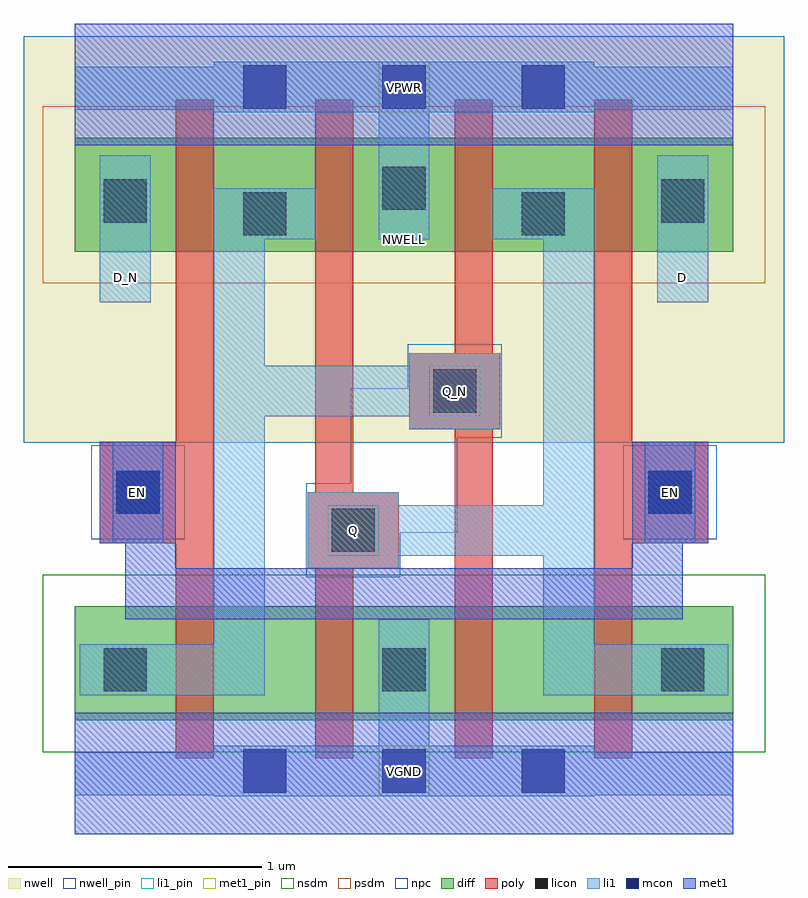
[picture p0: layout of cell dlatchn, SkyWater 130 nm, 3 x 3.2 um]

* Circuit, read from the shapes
.subckt dlatchn D D_N EN NWELL Q Q_N VGND VPWR
XM1 n1 EN Q_N VSUBS sky130_fd_pr__nfet_01v8 w=0.45 l=0.15
XM2 VGND Q n1 VSUBS sky130_fd_pr__nfet_01v8 w=0.45 l=0.15
XM3 n2 Q_N VGND VSUBS sky130_fd_pr__nfet_01v8 w=0.45 l=0.15
XM4 Q EN n2 VSUBS sky130_fd_pr__nfet_01v8 w=0.45 l=0.15
XM5 Q_N EN D_N NWELL sky130_fd_pr__pfet_01v8 w=0.45 l=0.15
XM6 VPWR Q Q_N NWELL sky130_fd_pr__pfet_01v8 w=0.45 l=0.15
XM7 Q Q_N VPWR NWELL sky130_fd_pr__pfet_01v8 w=0.45 l=0.15
XM8 D EN Q NWELL sky130_fd_pr__pfet_01v8 w=0.45 l=0.15
.ends

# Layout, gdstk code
import gdstk
lib = gdstk.Library(unit=1e-6, precision=1e-09)
def R(c, l, rs):  # rectangles x0, y0, x1, y1
    for r in rs: c.add(gdstk.rectangle(r[:2], r[2:], *l))
def A(c, l, x, y, w, h, nx, ny, dx, dy):  # array of equal rectangles
    R(c, l, [(x+i*dx, y+j*dy, x+i*dx+w, y+j*dy+h) for i in range(nx) for j in range(ny)])
nwell_pin = (64, 16)
nwell = (64, 20)
diff = (65, 20)
poly = (66, 20)
licon = (66, 44)
li1_pin = (67, 16)
li1 = (67, 20)
mcon = (67, 44)
met1_pin = (68, 16)
met1 = (68, 20)
nsdm = (93, 44)
psdm = (94, 20)
npc = (95, 20)

dlatchn = lib.new_cell('dlatchn')
R(dlatchn, nwell_pin, [(-1.5,1.545,1.5,3.15)])
R(dlatchn, nwell, [(-1.5,1.545,1.5,3.15)])
R(dlatchn, diff, [(-1.3,0.45,1.3,0.9), (-1.3,2.3,1.3,2.75)])
R(dlatchn, poly, [(-0.9,0.3,-0.75,1.15), (-0.35,0.3,-0.2,1.05), (0.2,0.3,0.35,1.6), (0.75,0.3,0.9,1.15), (-0.38,1.05,-0.02,1.35), (-1.2,1.15,-0.75,1.55), (0.75,1.15,1.2,1.55), (-0.35,1.35,-0.2,2.9), (-0.9,1.55,-0.75,2.9), (0.75,1.55,0.9,2.9), (0.02,1.6,0.38,1.9), (0.2,1.9,0.35,2.9)])
A(dlatchn, licon, -1.185, 0.565, 0.17, 0.17, 3, 1, 1.1, 0)
R(dlatchn, licon, [(-0.285,1.115,-0.115,1.285), (-1.135,1.265,-0.965,1.435), (0.965,1.265,1.135,1.435), (0.115,1.665,0.285,1.835), (-0.635,2.365,-0.465,2.535), (0.465,2.365,0.635,2.535), (-1.185,2.415,-1.015,2.585), (1.015,2.415,1.185,2.585), (-0.085,2.465,0.085,2.635)])
R(dlatchn, li1_pin, [(-0.3,1.1,-0.1,1.3), (0.1,1.65,0.3,1.85), (-1.2,2.1,-1,2.3), (1,2.1,1.2,2.3)])
R(dlatchn, li1, [(-0.75,0.15,0.75,0.155), (-1.3,0.155,1.3,0.325), (-0.75,0.325,0.75,0.35), (-0.1,0.35,0.1,0.85), (-1.28,0.55,-0.55,0.75), (0.55,0.55,1.28,0.75), (-0.75,0.75,-0.55,1.65), (0.55,0.75,0.75,1.1), (-0.38,1.05,-0.02,1.1), (-0.38,1.1,0.75,1.3), (-1.15,1.15,-0.95,1.55), (0.95,1.15,1.15,1.55), (-0.38,1.3,-0.02,1.35), (0.55,1.3,0.75,2.35), (0.02,1.6,0.38,1.65), (-0.75,1.65,0.38,1.85), (-0.75,1.85,-0.55,2.35), (0.02,1.85,0.38,1.9), (-1.2,2.1,-1,2.68), (1,2.1,1.2,2.68), (-0.75,2.35,-0.35,2.55), (-0.1,2.35,0.1,2.85), (0.35,2.35,0.75,2.55), (-0.75,2.85,0.75,2.86), (-1.3,2.86,1.3,3.03), (-0.75,3.03,0.75,3.05)])
A(dlatchn, mcon, -0.635, 0.165, 0.17, 0.17, 3, 2, 0.55, 2.7)
R(dlatchn, mcon, [(-1.135,1.265,-0.965,1.435), (0.965,1.265,1.135,1.435)])
R(dlatchn, met1_pin, [(-0.1,0.15,0.1,0.35), (-1.2,1.15,-0.9,1.55), (0.9,1.15,1.2,1.55), (-0.1,2.85,0.1,3.05)])
R(dlatchn, met1, [(-1.3,0,1.3,0.48), (-1.1,0.85,1.1,1.05), (-1.1,1.05,-0.9,1.15), (0.9,1.05,1.1,1.15), (-1.2,1.15,-0.9,1.55), (0.9,1.15,1.2,1.55), (-1.3,2.72,1.3,3.2)])
R(dlatchn, nsdm, [(-1.425,0.325,1.425,1.025)])
R(dlatchn, psdm, [(-1.425,2.175,1.425,2.875)])
R(dlatchn, npc, [(-0.385,1.015,-0.015,1.19), (-1.235,1.165,-0.865,1.535), (0.865,1.165,1.235,1.535), (-0.385,1.19,0.21,1.385), (-0.21,1.385,0.21,1.565), (-0.21,1.565,0.385,1.76), (0.015,1.76,0.385,1.935)])
dlatchn.add(gdstk.Label('NWELL', (0,2.347), layer=64, texttype=16))
dlatchn.add(gdstk.Label('VPWR', (0,2.95), layer=68, texttype=16))
dlatchn.add(gdstk.Label('VGND', (0,0.25), layer=68, texttype=16))
dlatchn.add(gdstk.Label('Q_N', (0.2,1.75), layer=67, texttype=16))
dlatchn.add(gdstk.Label('Q', (-0.2,1.2), layer=67, texttype=16))
dlatchn.add(gdstk.Label('EN', (-1.05,1.35), layer=68, texttype=16))
dlatchn.add(gdstk.Label('EN', (1.05,1.35), layer=68, texttype=16))
dlatchn.add(gdstk.Label('D_N', (-1.1,2.2), layer=67, texttype=16))
dlatchn.add(gdstk.Label('D', (1.1,2.2), layer=67, texttype=16))

lib.write_gds('dlatchn.gds')
